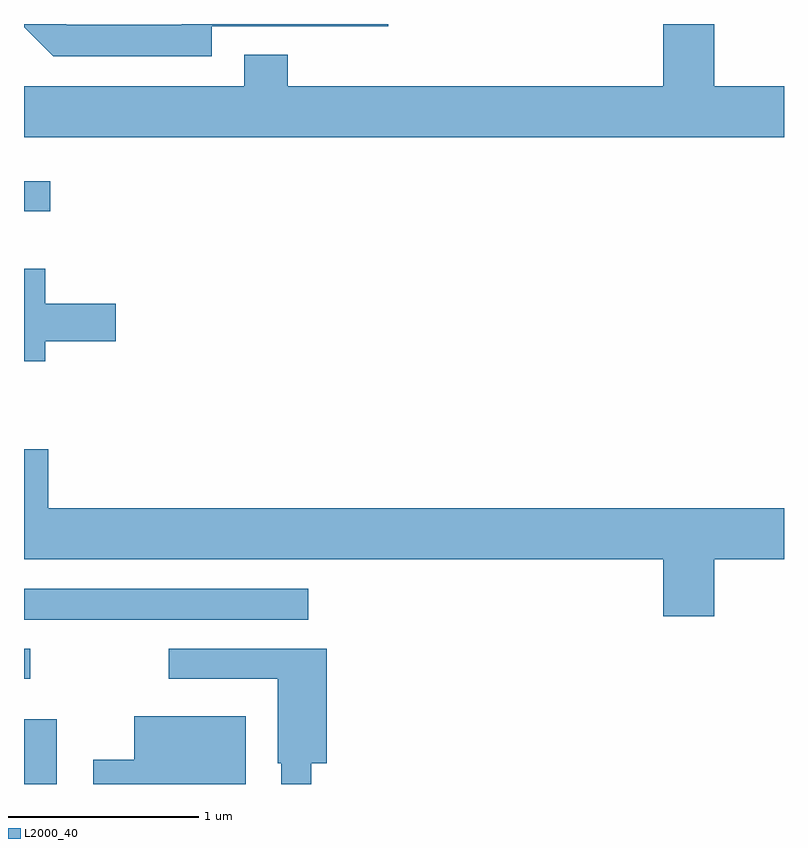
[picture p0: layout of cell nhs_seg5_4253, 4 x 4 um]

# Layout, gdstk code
import gdstk
lib = gdstk.Library(unit=1e-6, precision=1e-09)
def R(c, l, rs):  # rectangles x0, y0, x1, y1
    for r in rs: c.add(gdstk.rectangle(r[:2], r[2:], *l))
def P(c, l, *ps):  # polygons
    for p in ps: c.add(gdstk.Polygon(p, *l))
L2000_40 = (2000, 40)

nhs_seg5_4253 = lib.new_cell('nhs_seg5_4253')
R(nhs_seg5_4253, L2000_40, [(311.611,1440.072,311.784,1440.414), (311.611,1440.626,311.643,1440.784), (311.611,1440.936,313.108,1441.099), (311.611,1443.086,311.748,1443.244)])
P(nhs_seg5_4253, L2000_40, [(315.611,1443.744),(315.244,1443.744),(315.244,1444.072),(314.976,1444.072),(314.976,1443.744),(312.999,1443.744),(312.999,1443.909),(312.771,1443.909),(312.771,1443.744),(311.611,1443.744),(311.611,1443.476),(315.611,1443.476)],
  [(312.599,1444.061),(313.528,1444.061),(313.528,1444.072),(312.441,1444.072),(312.441,1444.069),(311.837,1444.069),(311.834,1444.072),(311.611,1444.072),(311.611,1444.054),(311.764,1443.901),(312.599,1443.901)],
  [(311.724,1442.401),(312.094,1442.401),(312.094,1442.599),(311.724,1442.599),(311.724,1442.784),(311.611,1442.784),(311.611,1442.296),(311.724,1442.296)],
  [(315.244,1441.256),(315.611,1441.256),(315.611,1441.524),(311.739,1441.524),(311.739,1441.834),(311.611,1441.834),(311.611,1441.256),(314.976,1441.256),(314.976,1440.956),(315.244,1440.956)],
  [(313.124,1440.181),(313.204,1440.181),(313.204,1440.784),(312.373,1440.784),(312.373,1440.626),(312.946,1440.626),(312.946,1440.181),(312.966,1440.181),(312.966,1440.072),(313.124,1440.072)],
  [(312.779,1440.429),(312.191,1440.429),(312.191,1440.199),(311.976,1440.199),(311.976,1440.072),(312.779,1440.072)])

lib.write_gds('nhs_seg5_4253.gds')
